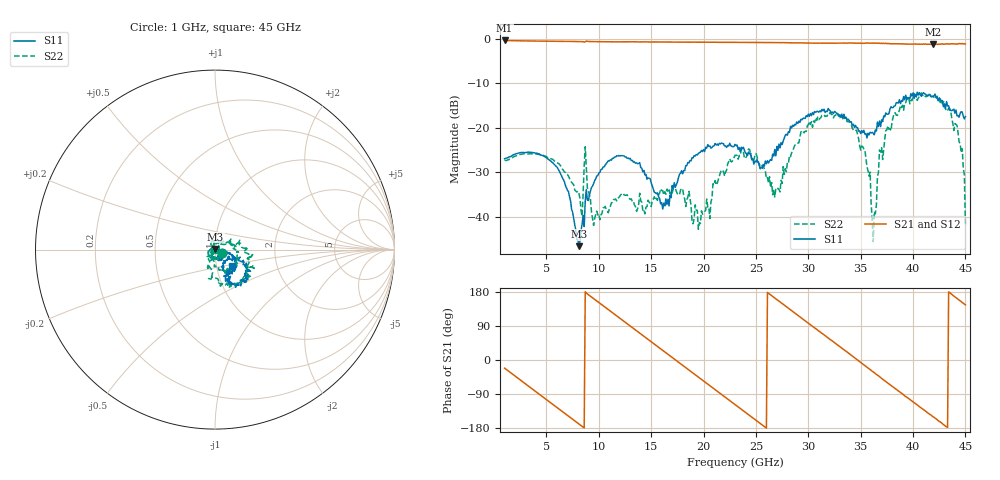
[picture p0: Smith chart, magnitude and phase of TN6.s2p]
!Keysight Technologies,N5247B,MY61255062,A.19.80.06
!Date: Monday, May 18, 2026 12:31:10
!Correction: S11(Cdelta 2-Port  )
!S21(Cdelta 2-Port  )
!S12(Cdelta 2-Port  )
!S22(Cdelta 2-Port  )
!S2P File: Measurements: S11, S21, S12, S22:
# Hz S  dB  R 50
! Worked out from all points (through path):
!   441 points, 1 GHz to 45 GHz, reference 50 ohm
!   highest |S21| = -0.40 dB at 1 GHz (marker M1); lowest = -1.3 dB at 41.9 GHz (marker M2)
!   group delay of S21, straight-line fit = 57.6 ps
!   lowest |S11| = -46.5 dB at 8.1 GHz (marker M3), VSWR 1.01, Z = 50.3 + j0.397 ohm
!   |S11| at or under -10 dB: start of sweep to end of sweep
!   |S22| runs from -45.5 to -12.2 dB; largest |S21 - S12| = 0.016
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1e9  -26.90 -26.5  -0.40 -21.5  -0.40 -21.5  -27.27 -28.7
4.5e9  -26.07 -126.5  -0.55 -94.3  -0.55 -94.3  -26.04 -127.1
6.5e9  -31.08 179.3  -0.60 -135.7  -0.60 -135.7  -29.20 -169.3
8.1e9  -46.52 56.9  -0.63 -168.9  -0.63 -169.0  -34.76 -179.1
8.4e9  -41.57 24.3  -0.64 -175.3  -0.64 -175.3  -39.81 157.5
8.8e9  -33.81 -6.1  -0.53 177.0  -0.53 177.0  -28.78 92.6
9.8e9  -30.80 -41.5  -0.66 155.8  -0.66 155.8  -38.67 -143.2
1.23e10  -26.26 -91.9  -0.72 104.3  -0.72 104.3  -34.64 -127.8
1.57e10  -35.37 -100.6  -0.74 33.7  -0.74 33.7  -34.99 -114.1
1.88e10  -27.40 -40.8  -0.78 -30.3  -0.79 -30.3  -37.39 -158.6
1.97e10  -25.44 -43.0  -0.78 -49.0  -0.78 -49.0  -41.44 101.1
2.3e10  -23.69 -70.7  -0.82 -117.4  -0.82 -117.5  -26.16 -37.4
2.65e10  -27.28 -19.7  -0.86 169.9  -0.87 169.8  -32.25 -160.0
3.04e10  -16.57 -35.3  -0.99 89.0  -1.00 89.0  -19.87 3.5
3.45e10  -19.45 -67.6  -1.01 3.9  -1.00 4.0  -20.67 -93.2
3.55e10  -21.26 -49.0  -0.98 -16.7  -1.02 -16.7  -26.86 -114.2
3.63e10  -21.54 -26.1  -1.01 -33.7  -1.03 -33.8  -38.76 105.5
3.68e10  -18.44 -22.3  -1.00 -43.7  -1.05 -44.1  -24.93 48.5
3.77e10  -16.82 -25.2  -1.08 -63.0  -1.10 -63.2  -20.33 32.7
4.19e10  -12.96 -60.3  -1.29 -149.7  -1.23 -149.5  -12.90 -63.0
4.42e10  -17.29 -52.6  -1.18 162.7  -1.17 162.0  -19.47 -113.2
4.5e10  -17.48 -43.7  -1.19 145.6  -1.09 145.3  -41.68 -148.1
